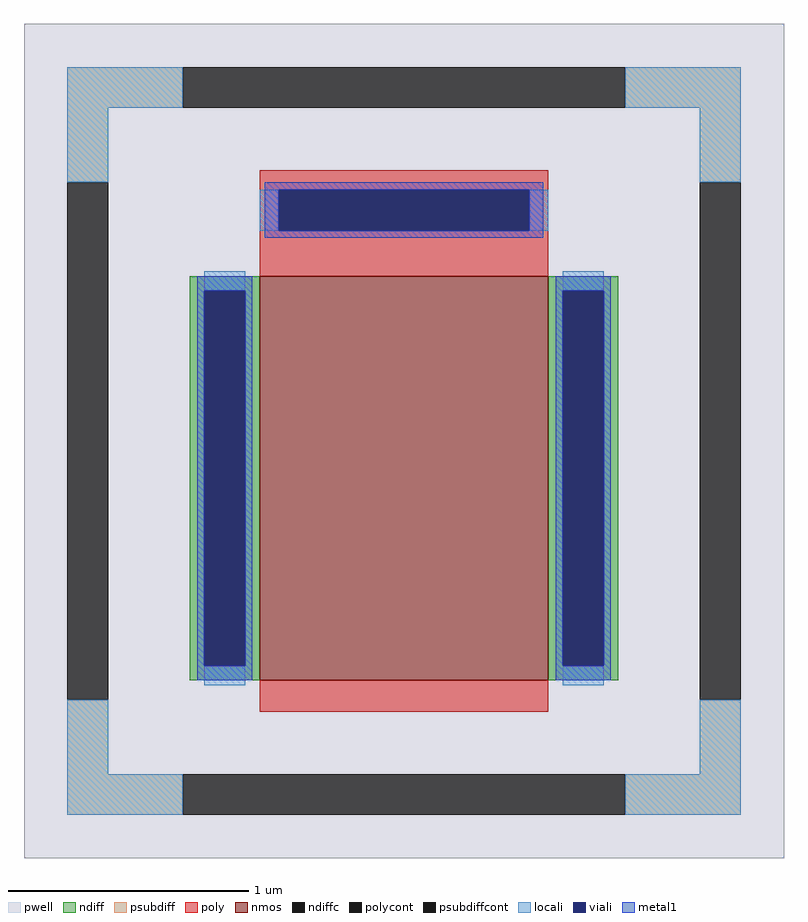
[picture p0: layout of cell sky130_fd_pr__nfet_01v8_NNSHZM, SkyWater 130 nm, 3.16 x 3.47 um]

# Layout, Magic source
magic
tech sky130A
magscale 1 2
<< pwell >>
rect -316 -347 316 347
<< nmos >>
rect -120 -199 120 137
<< ndiff >>
rect -178 125 -120 137
rect -178 -187 -166 125
rect -132 -187 -120 125
rect -178 -199 -120 -187
rect 120 125 178 137
rect 120 -187 132 125
rect 166 -187 178 125
rect 120 -199 178 -187
<< ndiffc >>
rect -166 -187 -132 125
rect 132 -187 166 125
<< psubdiff >>
rect -280 277 -184 311
rect 184 277 280 311
rect -280 215 -246 277
rect 246 215 280 277
rect -280 -277 -246 -215
rect 246 -277 280 -215
rect -280 -311 -184 -277
rect 184 -311 280 -277
<< psubdiffcont >>
rect -184 277 184 311
rect -280 -215 -246 215
rect 246 -215 280 215
rect -184 -311 184 -277
<< poly >>
rect -120 209 120 225
rect -120 175 -104 209
rect 104 175 120 209
rect -120 137 120 175
rect -120 -225 120 -199
<< polycont >>
rect -104 175 104 209
<< locali >>
rect -280 277 -184 311
rect 184 277 280 311
rect -280 215 -246 277
rect 246 215 280 277
rect -120 175 -104 209
rect 104 175 120 209
rect -166 125 -132 141
rect -166 -203 -132 -187
rect 132 125 166 141
rect 132 -203 166 -187
rect -280 -277 -246 -215
rect 246 -277 280 -215
rect -280 -311 -184 -277
rect 184 -311 280 -277
<< viali >>
rect -104 175 104 209
rect -166 -187 -132 125
rect 132 -187 166 125
<< metal1 >>
rect -116 209 116 215
rect -116 175 -104 209
rect 104 175 116 209
rect -116 169 116 175
rect -172 125 -126 137
rect -172 -187 -166 125
rect -132 -187 -126 125
rect -172 -199 -126 -187
rect 126 125 172 137
rect 126 -187 132 125
rect 166 -187 172 125
rect 126 -199 172 -187
<< properties >>
string FIXED_BBOX -263 -294 263 294
string gencell sky130_fd_pr__nfet_01v8
string library sky130
string parameters w 1.68 l 1.2 m 1 nf 1 diffcov 100 polycov 100 guard 1 glc 1 grc 1 gtc 1 gbc 1 tbcov 100 rlcov 100 topc 1 botc 0 poverlap 0 doverlap 1 lmin 0.15 wmin 0.42 compatible {sky130_fd_pr__nfet_01v8 sky130_fd_pr__nfet_01v8_lvt  sky130_fd_bs_flash__special_sonosfet_star  sky130_fd_pr__nfet_g5v0d10v5 sky130_fd_pr__nfet_05v0_nvt  sky130_fd_pr__nfet_03v3_nvt} full_metal 1 viasrc 100 viadrn 100 viagate 100 viagb 0 viagr 0 viagl 0 viagt 0
<< end >>
